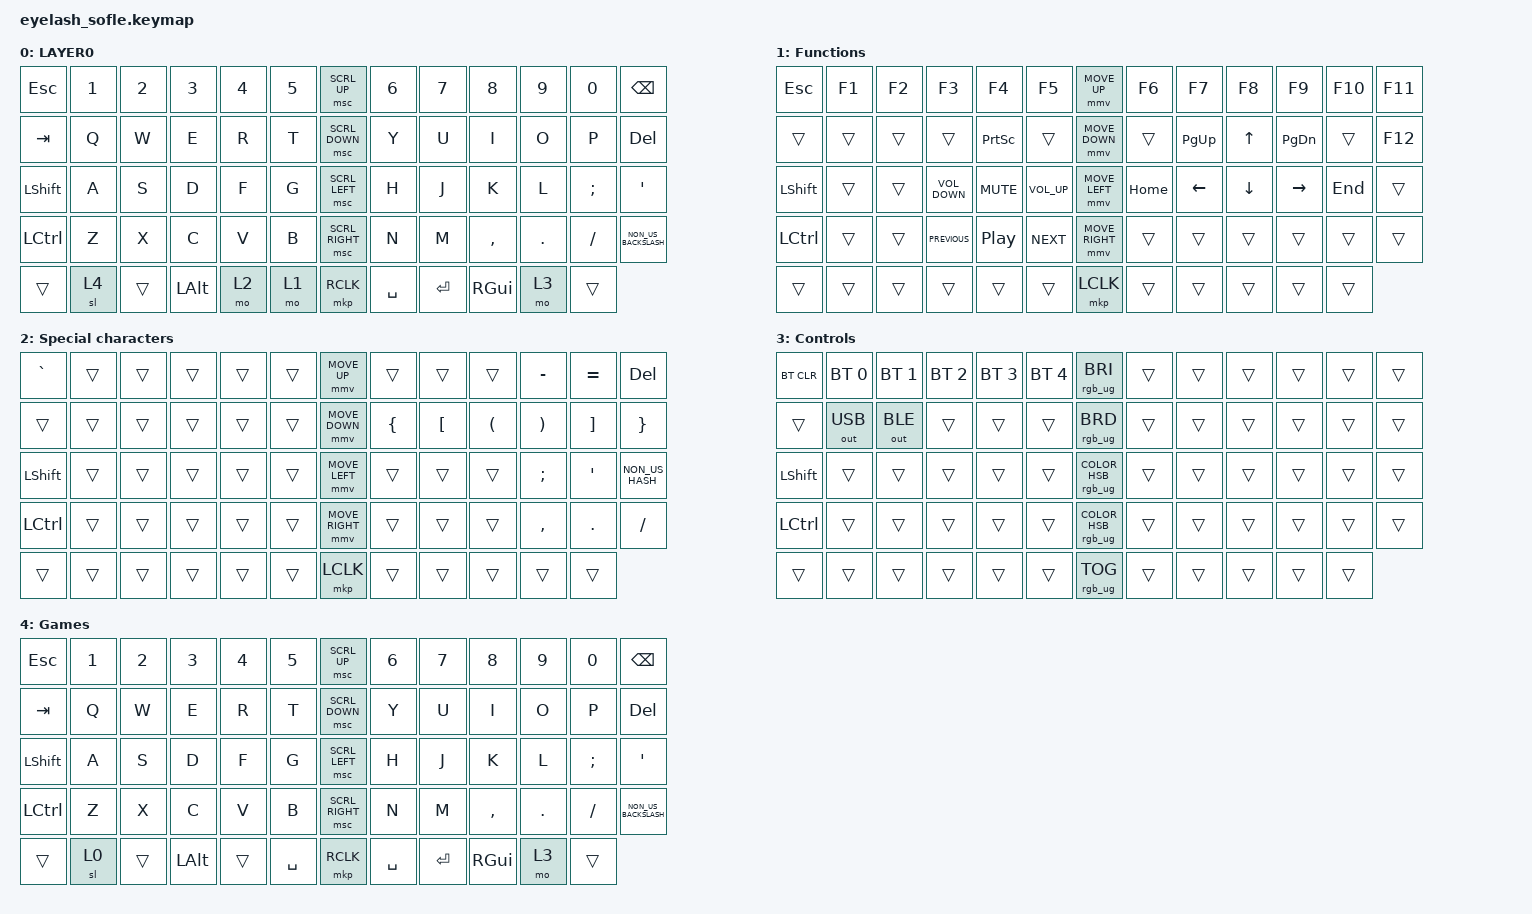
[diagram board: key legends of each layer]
#define ZMK_POINTING_DEFAULT_MOVE_VAL 1200  // 600
#define ZMK_POINTING_DEFAULT_SCRL_VAL 25   // 10

#include <input/processors.dtsi>
#include <zephyr/dt-bindings/input/input-event-codes.h>
#include <behaviors.dtsi>
#include <dt-bindings/zmk/bt.h>
#include <dt-bindings/zmk/keys.h>
#include <dt-bindings/zmk/outputs.h>
#include <dt-bindings/zmk/pointing.h>
#include <dt-bindings/zmk/rgb.h>

&mmv_input_listener { input-processors = <&zip_xy_scaler 2 1>; };

&msc_input_listener { input-processors = <&zip_scroll_scaler 2 1>; };

&msc {
    acceleration-exponent = <1>;      // 0
    time-to-max-speed-ms = <100>;       // 300
    delay-ms = <0>;                   // 0
};

&mmv {
    time-to-max-speed-ms = <500>;
    acceleration-exponent = <1>;
    trigger-period-ms = <16>;
};

&soft_off { hold-time-ms = <2000>; };

&mt {
    tapping-term-ms = <200>;
    hold-trigger-on-release;
};

/ {
    combos {
        compatible = "zmk,combos";

        softoff {
            bindings = <&soft_off>;
            key-positions = <14 28 40>;
        };
    };

    keymap {
        compatible = "zmk,keymap";

        layer0 {
            bindings = <
&kp ESC           &kp N1  &kp N2  &kp N3        &kp N4  &kp N5    &msc SCRL_UP     &kp N6     &kp N7     &kp N8         &kp N9   &kp N0    &kp BACKSPACE
&kp TAB           &kp Q   &kp W   &kp E         &kp R   &kp T     &msc SCRL_DOWN   &kp Y      &kp U      &kp I          &kp O    &kp P     &kp DELETE
&kp LEFT_SHIFT    &kp A   &kp S   &kp D         &kp F   &kp G     &msc SCRL_LEFT   &kp H      &kp J      &kp K          &kp L    &kp SEMI  &kp APOS
&kp LEFT_CONTROL  &kp Z   &kp X   &kp C         &kp V   &kp B     &msc SCRL_RIGHT  &kp N      &kp M      &kp COMMA      &kp DOT  &kp FSLH  &kp NON_US_BACKSLASH
&trans            &sl 4   &trans  &kp LEFT_ALT  &mo 2   &mo 1     &mkp RCLK        &kp SPACE  &kp ENTER  &kp RIGHT_GUI  &mo 3    &trans
            >;

            display-name = "LAYER0";
        };

        layer_1 {
            bindings = <
&kp ESCAPE        &kp F1  &kp F2  &kp F3             &kp F4            &kp F5          &mmv MOVE_UP     &kp F6    &kp F7     &kp F8    &kp F9         &kp F10  &kp F11
&trans            &trans  &trans  &trans             &kp PRINTSCREEN   &trans          &mmv MOVE_DOWN   &trans    &kp PG_UP  &kp UP    &kp PAGE_DOWN  &trans   &kp F12
&kp LEFT_SHIFT    &trans  &trans  &kp C_VOLUME_DOWN  &kp C_MUTE        &kp C_VOL_UP    &mmv MOVE_LEFT   &kp HOME  &kp LEFT   &kp DOWN  &kp RIGHT      &kp END  &trans
&kp LEFT_CONTROL  &trans  &trans  &kp K_PREVIOUS     &kp C_PLAY_PAUSE  &kp K_NEXT      &mmv MOVE_RIGHT  &trans    &trans     &trans    &trans         &trans   &trans
&trans            &trans  &trans  &trans             &trans            &trans          &mkp LCLK        &trans    &trans     &trans    &trans         &trans
            >;

            display-name = "Functions";
        };

        layer_2 {
            bindings = <
&kp GRAVE       &trans  &trans  &trans  &trans  &trans    &mmv MOVE_UP     &trans          &trans            &trans                &kp MINUS              &kp EQUAL          &kp DEL
&trans          &trans  &trans  &trans  &trans  &trans    &mmv MOVE_DOWN   &kp LEFT_BRACE  &kp LEFT_BRACKET  &kp LEFT_PARENTHESIS  &kp RIGHT_PARENTHESIS  &kp RIGHT_BRACKET  &kp RIGHT_BRACE
&kp LEFT_SHIFT  &trans  &trans  &trans  &trans  &trans    &mmv MOVE_LEFT   &trans          &trans            &trans                &kp SEMICOLON          &kp SINGLE_QUOTE   &kp NON_US_HASH
&kp LCTRL       &trans  &trans  &trans  &trans  &trans    &mmv MOVE_RIGHT  &trans          &trans            &trans                &kp COMMA              &kp PERIOD         &kp SLASH
&trans          &trans  &trans  &trans  &trans  &trans    &mkp LCLK        &trans          &trans            &trans                &trans                 &trans
            >;

            display-name = "Special characters";
        };

        layer_3 {
            bindings = <
&bt BT_CLR        &bt BT_SEL 0  &bt BT_SEL 1  &bt BT_SEL 2  &bt BT_SEL 3  &bt BT_SEL 4    &rgb_ug RGB_BRI                  &trans  &trans  &trans  &trans  &trans  &trans
&trans            &out OUT_USB  &out OUT_BLE  &trans        &trans        &trans          &rgb_ug RGB_BRD                  &trans  &trans  &trans  &trans  &trans  &trans
&kp LEFT_SHIFT    &trans        &trans        &trans        &trans        &trans          &rgb_ug RGB_COLOR_HSB(55,82,85)  &trans  &trans  &trans  &trans  &trans  &trans
&kp LEFT_CONTROL  &trans        &trans        &trans        &trans        &trans          &rgb_ug RGB_COLOR_HSB(0,0,100)   &trans  &trans  &trans  &trans  &trans  &trans
&trans            &trans        &trans        &trans        &trans        &trans          &rgb_ug RGB_TOG                  &trans  &trans  &trans  &trans  &trans
            >;

            display-name = "Controls";
        };

        layer_4 {
            display-name = "Games";
            bindings = <
&kp ESC           &kp N1  &kp N2  &kp N3        &kp N4  &kp N5       &msc SCRL_UP     &kp N6     &kp N7     &kp N8         &kp N9   &kp N0    &kp BACKSPACE
&kp TAB           &kp Q   &kp W   &kp E         &kp R   &kp T        &msc SCRL_DOWN   &kp Y      &kp U      &kp I          &kp O    &kp P     &kp DELETE
&kp LEFT_SHIFT    &kp A   &kp S   &kp D         &kp F   &kp G        &msc SCRL_LEFT   &kp H      &kp J      &kp K          &kp L    &kp SEMI  &kp APOS
&kp LEFT_CONTROL  &kp Z   &kp X   &kp C         &kp V   &kp B        &msc SCRL_RIGHT  &kp N      &kp M      &kp COMMA      &kp DOT  &kp FSLH  &kp NON_US_BACKSLASH
&trans            &sl 0   &trans  &kp LEFT_ALT  &trans  &kp SPACE    &mkp RCLK        &kp SPACE  &kp ENTER  &kp RIGHT_GUI  &mo 3    &trans
            >;
        };
    };
};
